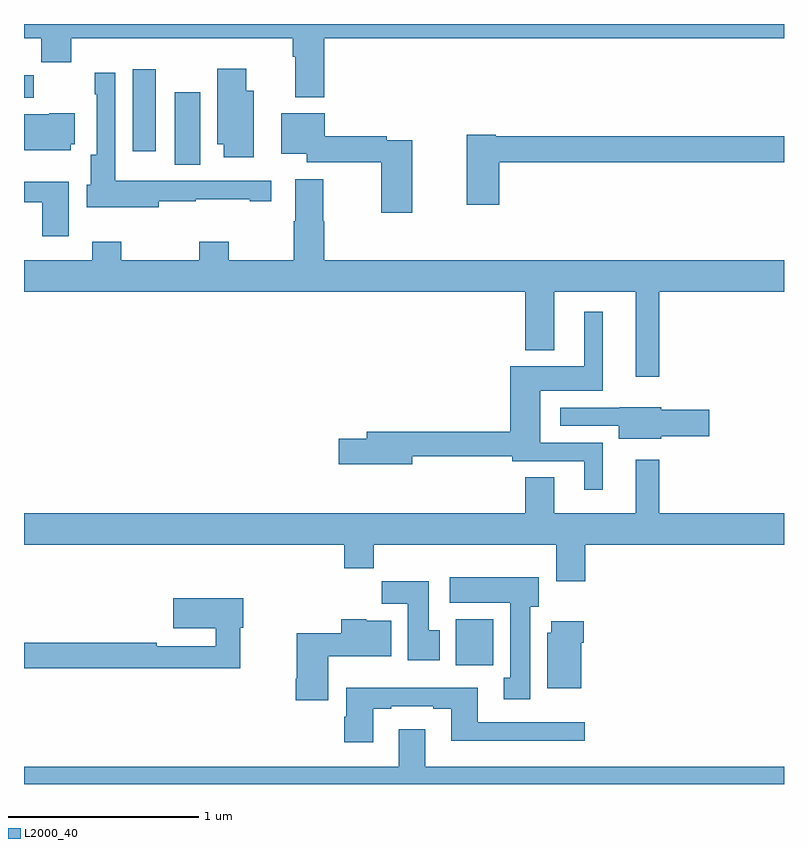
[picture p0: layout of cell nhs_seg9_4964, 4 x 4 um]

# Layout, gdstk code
import gdstk
lib = gdstk.Library(unit=1e-6, precision=1e-09)
def R(c, l, rs):  # rectangles x0, y0, x1, y1
    for r in rs: c.add(gdstk.rectangle(r[:2], r[2:], *l))
def P(c, l, *ps):  # polygons
    for p in ps: c.add(gdstk.Polygon(p, *l))
L2000_40 = (2000, 40)

nhs_seg9_4964 = lib.new_cell('nhs_seg9_4964')
R(nhs_seg9_4964, L2000_40, [(401.273,1189.124,401.47,1189.366), (399.794,1191.76,399.928,1192.141), (399.572,1191.831,399.694,1192.261), (399,1192.112,399.05,1192.231)])
P(nhs_seg9_4964, L2000_40, [(400.58,1192.424),(403,1192.424),(403,1192.5),(399,1192.5),(399,1192.424),(399.091,1192.424),(399.091,1192.3),(399.248,1192.3),(399.248,1192.424),(400.415,1192.424),(400.415,1192.328),(400.427,1192.328),(400.427,1192.115),(400.58,1192.115)],
  [(400.21,1192.15),(400.171,1192.15),(400.171,1192.264),(400.016,1192.264),(400.016,1191.866),(400.052,1191.866),(400.052,1191.798),(400.21,1191.798)],
  [(399.709,1191.567),(399.905,1191.567),(399.905,1191.577),(400.187,1191.577),(400.187,1191.567),(400.3,1191.567),(400.3,1191.675),(399.705,1191.675),(399.705,1191.676),(399.48,1191.676),(399.48,1192.243),(399.372,1192.243),(399.372,1192.13),(399.384,1192.13),(399.384,1191.811),(399.35,1191.811),(399.35,1191.654),(399.329,1191.654),(399.329,1191.536),(399.709,1191.536)],
  [(401.044,1191.888),(400.91,1191.888),(400.91,1191.908),(400.582,1191.908),(400.582,1192.03),(400.355,1192.03),(400.355,1191.818),(400.488,1191.818),(400.488,1191.772),(400.879,1191.772),(400.879,1191.507),(401.044,1191.507)],
  [(399.246,1191.867),(399.268,1191.867),(399.268,1192.03),(399.132,1192.03),(399.132,1192.024),(399,1192.024),(399,1191.836),(399.246,1191.836)],
  [(401.501,1191.772),(403,1191.772),(403,1191.908),(401.484,1191.908),(401.484,1191.916),(401.33,1191.916),(401.33,1191.549),(401.501,1191.549)],
  [(402.343,1191.092),(403,1191.092),(403,1191.256),(400.58,1191.256),(400.58,1191.461),(400.575,1191.461),(400.575,1191.682),(400.427,1191.682),(400.427,1191.461),(400.42,1191.461),(400.42,1191.256),(400.077,1191.256),(400.077,1191.355),(399.922,1191.355),(399.922,1191.256),(399.513,1191.256),(399.513,1191.355),(399.358,1191.355),(399.358,1191.256),(399,1191.256),(399,1191.092),(401.639,1191.092),(401.639,1190.783),(401.791,1190.783),(401.791,1191.092),(402.221,1191.092),(402.221,1190.643),(402.343,1190.643)],
  [(399.235,1191.67),(399,1191.67),(399,1191.561),(399.095,1191.561),(399.095,1191.384),(399.235,1191.384)],
  [(402.046,1190.295),(401.716,1190.295),(401.716,1190.57),(402.046,1190.57),(402.046,1190.986),(401.948,1190.986),(401.948,1190.698),(401.558,1190.698),(401.558,1190.354),(400.805,1190.354),(400.805,1190.318),(400.656,1190.318),(400.656,1190.183),(401.044,1190.183),(401.044,1190.226),(401.57,1190.226),(401.57,1190.199),(401.948,1190.199),(401.948,1190.049),(402.046,1190.049)],
  [(402.354,1190.329),(402.607,1190.329),(402.607,1190.471),(402.354,1190.471),(402.354,1190.482),(402.135,1190.482),(402.135,1190.481),(401.823,1190.481),(401.823,1190.385),(402.131,1190.385),(402.131,1190.318),(402.354,1190.318)],
  [(401.954,1189.76),(403,1189.76),(403,1189.924),(402.343,1189.924),(402.343,1190.206),(402.221,1190.206),(402.221,1189.924),(401.791,1189.924),(401.791,1190.114),(401.639,1190.114),(401.639,1189.924),(399,1189.924),(399,1189.76),(400.685,1189.76),(400.685,1189.636),(400.841,1189.636),(400.841,1189.76),(401.801,1189.76),(401.801,1189.566),(401.954,1189.566)],
  [(401.665,1189.434),(401.71,1189.434),(401.71,1189.588),(401.241,1189.588),(401.241,1189.454),(401.558,1189.454),(401.558,1189.058),(401.525,1189.058),(401.525,1188.945),(401.665,1188.945)],
  [(401.188,1189.308),(401.131,1189.308),(401.131,1189.567),(400.882,1189.567),(400.882,1189.448),(401.021,1189.448),(401.021,1189.152),(401.188,1189.152)],
  [(400.138,1189.323),(400.153,1189.323),(400.153,1189.477),(399.786,1189.477),(399.786,1189.319),(400.009,1189.319),(400.009,1189.224),(399.698,1189.224),(399.698,1189.244),(399,1189.244),(399,1189.108),(400.138,1189.108)],
  [(400.6,1189.172),(400.933,1189.172),(400.933,1189.36),(400.8,1189.36),(400.8,1189.366),(400.67,1189.366),(400.67,1189.294),(400.435,1189.294),(400.435,1189.054),(400.43,1189.054),(400.43,1188.942),(400.6,1188.942)],
  [(401.932,1189.244),(401.945,1189.244),(401.945,1189.357),(401.774,1189.357),(401.774,1189.296),(401.753,1189.296),(401.753,1189.004),(401.932,1189.004)],
  [(400.837,1188.897),(400.933,1188.897),(400.933,1188.909),(401.153,1188.909),(401.153,1188.897),(401.249,1188.897),(401.249,1188.728),(401.95,1188.728),(401.95,1188.825),(401.389,1188.825),(401.389,1189.006),(400.697,1189.006),(400.697,1188.854),(400.685,1188.854),(400.685,1188.72),(400.837,1188.72)],
  [(403,1188.592),(401.113,1188.592),(401.113,1188.787),(400.973,1188.787),(400.973,1188.592),(399,1188.592),(399,1188.5),(403,1188.5)])

lib.write_gds('nhs_seg9_4964.gds')
